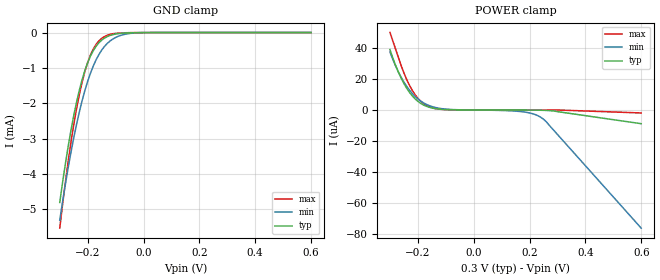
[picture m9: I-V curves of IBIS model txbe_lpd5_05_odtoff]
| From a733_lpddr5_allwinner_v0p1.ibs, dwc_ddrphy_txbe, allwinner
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[Model] txbe_lpd5_05_odtoff
Model_type   Input
Polarity   Non-Inverting
Enable   Active-High
C_comp   961.376fF   949.885fF   980.218fF
C_comp_pullup   294.501fF   286.137fF   300.739fF
C_comp_pulldown   543.028fF   538.558fF   555.111fF
Vinh = 310.000mV
Vinl = 190.000mV
[Model Spec]
D_overshoot_ampl_h 0.1 NA   NA
D_overshoot_ampl_l 0.1 NA   NA
D_overshoot_area_l 300.000m NA   NA
D_overshoot_area_h 300.000m NA   NA
[Receiver Thresholds]
Vth = 125.000mV
Vth_min = 118.000mV
Vth_max = 143.000mV
Vinh_ac = 60.000mV
Vinh_dc = 60.000mV
Vinl_ac = -60.000mV
Vinl_dc = -60.000mV
Tslew_ac = 5.000ns
Threshold_sensitivity = 0.5
Reference_supply Power_clamp_ref
[Temperature Range]   25.000   125.000   -40.000
[Voltage Range]   300.000mV   270.000mV   330.000mV
[GND Clamp Reference]   0.00V   0.00V   0.00V
[C Comp Corner]
| variable   typ   min   max
C_comp   961.376fF   949.885fF   980.218fF
C_comp_pullup   294.501fF   286.137fF   300.739fF
C_comp_pulldown   543.028fF   538.558fF   555.111fF
[POWER Clamp Reference]   300.000mV   270.000mV   330.000mV
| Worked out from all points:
|   GND clamp passes 1 mA (typ) near -0.21 V on its own axis
[GND Clamp]
-300mV    -4.811mA   -5.312mA   -5.538mA
-280mV    -3.723mA   -4.302mA   -4.243mA
-260mV    -2.773mA   -3.396mA   -3.113mA
-250mV    -2.354mA   -2.986mA   -2.614mA
-230mV    -1.635mA   -2.252mA   -1.76mA
-210mV    -1.074mA   -1.64mA    -1.102mA
-190mV    -665.6uA   -1.15mA    -635.8uA
-170mV    -388.7uA   -773.3uA   -336.4uA
-150mV    -215.3uA   -499.1uA   -164.7uA
-100mV    -40.84uA   -138.2uA   -21.97uA
-40mV     -3.47uA    -16.77uA   -1.296uA
600mV     803.1nA    6.382uA    219.9nA
[Power Clamp]
-300mV    39.01uA    37.4uA     50.08uA
-270mV    24.51uA    24.62uA    34.04uA
-250mV    17.09uA    18uA       23.88uA
-230mV    11.35uA    12.74uA    15.86uA
-210mV    7.144uA    8.709uA    9.853uA
-190mV    4.241uA    5.727uA    5.657uA
-150mV    1.265uA    2.197uA    1.435uA
-80mV     102.5nA    262.4nA    71.1nA
170mV     -76.03nA   -1.105uA   -18.64nA
240mV     -217.7nA   -4.727uA   -30.41nA
260mV     -349.4nA   -7.648uA   -38.74nA
600mV     -8.9uA     -76.37uA   -1.976uA
